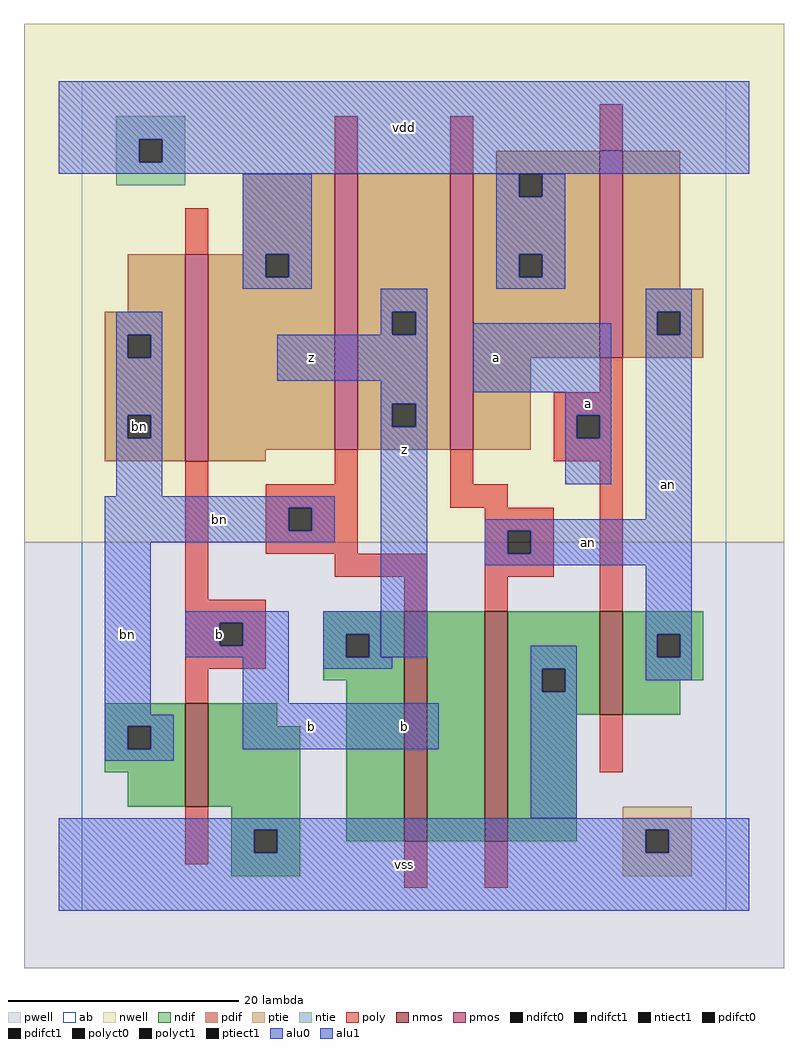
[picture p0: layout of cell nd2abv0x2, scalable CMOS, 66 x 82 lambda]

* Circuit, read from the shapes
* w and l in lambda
.subckt nd2abv0x2 a an b bn vdd vss z
M1 vss b bn vss nfet w=9 l=2
M2 n1 bn z vss nfet w=20 l=2
M3 vss an n1 vss nfet w=20 l=2
M4 an a vss vss nfet w=9 l=2
M5 vdd b bn vdd pfet w=18 l=2
M6 z bn vdd vdd pfet w=24 l=2
M7 vdd an z vdd pfet w=24 l=2
M8 an a vdd vdd pfet w=18 l=2
.ends

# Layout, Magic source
magic
tech scmos
<< ab >>
rect 0 0 56 72
<< nwell >>
rect -5 32 61 77
<< pwell >>
rect -5 -5 61 32
<< poly >>
rect 22 64 24 69
rect 32 64 34 69
rect 45 66 47 70
rect 9 57 11 61
rect 45 45 47 48
rect 41 43 47 45
rect 41 41 43 43
rect 45 41 47 43
rect 9 27 11 39
rect 22 37 24 40
rect 16 35 24 37
rect 32 37 34 40
rect 41 39 47 41
rect 32 35 37 37
rect 16 33 18 35
rect 20 33 24 35
rect 16 31 24 33
rect 35 33 41 35
rect 35 31 37 33
rect 39 31 41 33
rect 22 29 30 31
rect 9 25 16 27
rect 28 26 30 29
rect 35 29 41 31
rect 35 26 37 29
rect 45 26 47 39
rect 9 23 12 25
rect 14 23 16 25
rect 9 21 16 23
rect 9 18 11 21
rect 9 4 11 9
rect 45 12 47 17
rect 28 2 30 6
rect 35 2 37 6
<< ndif >>
rect 21 24 28 26
rect 21 22 23 24
rect 25 22 28 24
rect 21 20 28 22
rect 2 16 9 18
rect 2 14 4 16
rect 6 14 9 16
rect 2 12 9 14
rect 4 9 9 12
rect 11 16 17 18
rect 11 9 19 16
rect 13 7 19 9
rect 13 5 15 7
rect 17 5 19 7
rect 23 6 28 20
rect 30 6 35 26
rect 37 21 45 26
rect 37 19 40 21
rect 42 19 45 21
rect 37 17 45 19
rect 47 24 54 26
rect 47 22 50 24
rect 52 22 54 24
rect 47 20 54 22
rect 47 17 52 20
rect 37 6 43 17
rect 13 3 19 5
<< pdif >>
rect 36 64 45 66
rect 14 57 22 64
rect 4 52 9 57
rect 2 50 9 52
rect 2 48 4 50
rect 6 48 9 50
rect 2 43 9 48
rect 2 41 4 43
rect 6 41 9 43
rect 2 39 9 41
rect 11 55 16 57
rect 18 55 22 57
rect 11 40 22 55
rect 24 52 32 64
rect 24 50 27 52
rect 29 50 32 52
rect 24 44 32 50
rect 24 42 27 44
rect 29 42 32 44
rect 24 40 32 42
rect 34 62 38 64
rect 40 62 45 64
rect 34 57 45 62
rect 34 55 38 57
rect 40 55 45 57
rect 34 48 45 55
rect 47 54 52 66
rect 47 52 54 54
rect 47 50 50 52
rect 52 50 54 52
rect 47 48 54 50
rect 34 40 39 48
rect 11 39 16 40
<< alu1 >>
rect -2 67 58 72
rect -2 65 5 67
rect 7 65 58 67
rect -2 64 58 65
rect 26 52 30 54
rect 26 50 27 52
rect 29 50 30 52
rect 17 46 30 50
rect 26 44 30 46
rect 34 45 46 51
rect 26 42 27 44
rect 29 42 30 44
rect 9 25 18 26
rect 9 23 12 25
rect 14 23 18 25
rect 9 22 18 23
rect 14 18 18 22
rect 26 22 30 42
rect 42 43 46 45
rect 42 41 43 43
rect 45 41 46 43
rect 42 37 46 41
rect 14 14 31 18
rect -2 7 58 8
rect -2 5 15 7
rect 17 5 49 7
rect 51 5 58 7
rect -2 0 58 5
<< ptie >>
rect 47 7 53 9
rect 47 5 49 7
rect 51 5 53 7
rect 47 3 53 5
<< ntie >>
rect 3 67 9 69
rect 3 65 5 67
rect 7 65 9 67
rect 3 63 9 65
<< nmos >>
rect 9 9 11 18
rect 28 6 30 26
rect 35 6 37 26
rect 45 17 47 26
<< pmos >>
rect 9 39 11 57
rect 22 40 24 64
rect 32 40 34 64
rect 45 48 47 66
<< polyct0 >>
rect 18 33 20 35
rect 37 31 39 33
<< polyct1 >>
rect 43 41 45 43
rect 12 23 14 25
<< ndifct0 >>
rect 23 22 25 24
rect 4 14 6 16
rect 40 19 42 21
rect 50 22 52 24
<< ndifct1 >>
rect 15 5 17 7
<< ntiect1 >>
rect 5 65 7 67
<< ptiect1 >>
rect 49 5 51 7
<< pdifct0 >>
rect 4 48 6 50
rect 4 41 6 43
rect 16 55 18 57
rect 38 62 40 64
rect 38 55 40 57
rect 50 50 52 52
<< pdifct1 >>
rect 27 50 29 52
rect 27 42 29 44
<< alu0 >>
rect 14 57 20 64
rect 14 55 16 57
rect 18 55 20 57
rect 14 54 20 55
rect 36 62 38 64
rect 40 62 42 64
rect 36 57 42 62
rect 36 55 38 57
rect 40 55 42 57
rect 36 54 42 55
rect 3 50 7 52
rect 49 52 53 54
rect 3 48 4 50
rect 6 48 7 50
rect 3 43 7 48
rect 3 41 4 43
rect 6 41 7 43
rect 3 36 7 41
rect 2 35 22 36
rect 2 33 18 35
rect 20 33 22 35
rect 2 32 22 33
rect 2 17 6 32
rect 21 24 26 26
rect 21 22 23 24
rect 25 22 26 24
rect 49 50 50 52
rect 52 50 53 52
rect 49 34 53 50
rect 35 33 53 34
rect 35 31 37 33
rect 39 31 53 33
rect 35 30 53 31
rect 49 24 53 30
rect 21 21 27 22
rect 39 21 43 23
rect 39 19 40 21
rect 42 19 43 21
rect 49 22 50 24
rect 52 22 53 24
rect 49 20 53 22
rect 2 16 8 17
rect 2 14 4 16
rect 6 14 8 16
rect 2 13 8 14
rect 39 8 43 19
<< labels >>
rlabel alu0 4 24 4 24 6 bn
rlabel pdifct0 5 42 5 42 6 bn
rlabel alu0 12 34 12 34 6 bn
rlabel alu0 44 32 44 32 6 an
rlabel alu0 51 37 51 37 6 an
rlabel alu1 20 16 20 16 6 b
rlabel alu1 12 24 12 24 6 b
rlabel alu1 20 48 20 48 6 z
rlabel alu1 28 4 28 4 6 vss
rlabel alu1 28 16 28 16 6 b
rlabel alu1 28 40 28 40 6 z
rlabel alu1 36 48 36 48 6 a
rlabel alu1 28 68 28 68 6 vdd
rlabel alu1 44 44 44 44 6 a
<< end >>
